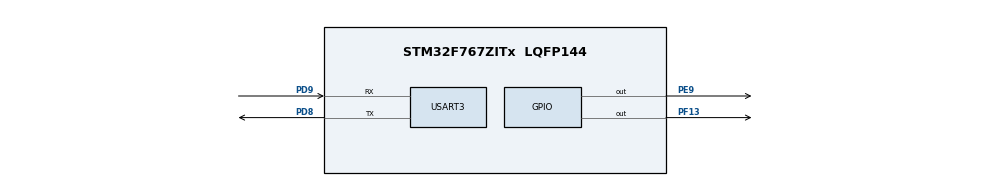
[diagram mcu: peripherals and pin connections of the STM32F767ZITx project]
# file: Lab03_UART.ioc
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Mcu.Family=STM32F7
Mcu.Name=STM32F767ZITx
Mcu.Package=LQFP144
NVIC.PriorityGroup=NVIC_PRIORITYGROUP_4
PD8.Mode=Asynchronous
PD8.Signal=USART3_TX
PD9.Mode=Asynchronous
PD9.Signal=USART3_RX
PE9.Signal=GPIO_Output
PF13.Signal=GPIO_Output
ProjectManager.HeapSize=0x200
ProjectManager.StackSize=0x400
ProjectManager.TargetToolchain=STM32CubeIDE
RCC.HSE_VALUE=25000000
RCC.HSI_VALUE=16000000
RCC.LSE_VALUE=32768
RCC.USBFreq_Value=96000000
RCC.VCOOutputFreq_Value=192000000
USART3.VirtualMode-Asynchronous=VM_ASYNC
board=custom

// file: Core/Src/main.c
/* USER CODE BEGIN Header */
/**
  ******************************************************************************
  * @file           : main.c
  * @brief          : Main program body
  ******************************************************************************
  * @attention
  *
  * Copyright (c) 2023 STMicroelectronics.
  * All rights reserved.
  *
  * This software is licensed under terms that can be found in the LICENSE file
  * in the root directory of this software component.
  * If no LICENSE file comes with this software, it is provided AS-IS.
  *
  ******************************************************************************
  */
/* USER CODE END Header */
#include "main.h"
#include "usart.h"
#include "gpio.h"

/* USER CODE BEGIN Includes */
#include "string.h"
/* USER CODE END Includes */

void SystemClock_Config(void);

int main(void)
{

  /* MCU Configuration--------------------------------------------------------*/

  /* Reset of all peripherals, Initializes the Flash interface and the Systick. */
  HAL_Init();

  /* Configure the system clock */
  SystemClock_Config();

  /* Initialize all configured peripherals */
  MX_GPIO_Init();
  MX_USART3_UART_Init();
  /* USER CODE BEGIN 2 */

  	 /*============ FOR FOUR ============*/

	 char str[] = "Display Blinking LED PRESS (1, 2)\nDisplay Group Members PRESS m\nQuit PRESS q\n";
	 char inp[] = "        Input => ";

   	 while(__HAL_UART_GET_FLAG(&huart3,UART_FLAG_TC)==RESET){}
   	 HAL_UART_Transmit(&huart3, (uint8_t*)str,strlen(str),1000);

  /* USER CODE END 2 */

  /* Infinite loop */
  while (1)
  {

    /* USER CODE BEGIN 3 */

	 /*=========== THREE ===========*/

	 char str[] = "Input => ";
	 char ch1;

	 while(__HAL_UART_GET_FLAG(&huart3,UART_FLAG_TC)==RESET){}
	 HAL_UART_Transmit(&huart3, (uint8_t*)str,strlen(str),1000);

	 while(__HAL_UART_GET_FLAG(&huart3,UART_FLAG_RXNE)==RESET){}
	 HAL_UART_Receive(&huart3, (uint8_t*)&ch1,1,1000);
	 HAL_UART_Transmit(&huart3, (uint8_t*)&ch1,1,1000);
	 HAL_UART_Transmit(&huart3, (uint8_t*)"\n",1,1000);

	 if(ch1=='q')
	 {
		 HAL_UART_Transmit(&huart3, (uint8_t*)"QUIT",4,1000);
		 break;
	 }

	 /*============ FOUR ============*/

	 char command;
	 char memberInfo[] = "           64010154\n           CHANIDAPA WONGTEP\n           64010965\n           ANAWIN THAMJAROENTIP\n           64011041\n           KITTAPORN BURIYAMEATHAKUL\n";

	 while(__HAL_UART_GET_FLAG(&huart3,UART_FLAG_TC)==RESET){}
	 HAL_UART_Transmit(&huart3, (uint8_t*)inp,strlen(inp),1000);

	 while(__HAL_UART_GET_FLAG(&huart3,UART_FLAG_RXNE)==RESET){}
	 HAL_UART_Receive(&huart3, (uint8_t*)&command,1,1000);
	 HAL_UART_Transmit(&huart3, (uint8_t*)&command,1,1000);
	 HAL_UART_Transmit(&huart3, (uint8_t*)"\n",1,1000);

	 if(command=='1')
	 {
		 for(int i=0;i<3;i++)
		 {
			 HAL_GPIO_WritePin(GPIOF, GPIO_PIN_13, GPIO_PIN_SET);
			 HAL_Delay(300);
			 HAL_GPIO_WritePin(GPIOF, GPIO_PIN_13, GPIO_PIN_RESET);
			 HAL_Delay(300);
		 }
	 }
	 else if(command=='2')
	 	 {
	 		 for(int i=0;i<3;i++)
	 		 {
	 			 HAL_GPIO_WritePin(GPIOE, GPIO_PIN_9, GPIO_PIN_SET);
	 			 HAL_Delay(300);
	 			 HAL_GPIO_WritePin(GPIOE, GPIO_PIN_9, GPIO_PIN_RESET);
	 			 HAL_Delay(300);
	 		 }
	 	 }
	 else if(command=='m')
	 {
		 HAL_UART_Transmit(&huart3, (uint8_t*)memberInfo,strlen(memberInfo),1000);
	 }
	 else if(command=='q')
	 {
		 HAL_UART_Transmit(&huart3, (uint8_t*)"Quit",4,1000);
		 break;
	 }
	 else
	 {
		 HAL_UART_Transmit(&huart3, (uint8_t*)"           Unknown Command\n",27,1000);
	 }
  }
  /* USER CODE END 3 */
}

void SystemClock_Config(void)
{
  RCC_OscInitTypeDef RCC_OscInitStruct = {0};
  RCC_ClkInitTypeDef RCC_ClkInitStruct = {0};

  /** Configure the main internal regulator output voltage
  */
  __HAL_RCC_PWR_CLK_ENABLE();
  __HAL_PWR_VOLTAGESCALING_CONFIG(PWR_REGULATOR_VOLTAGE_SCALE3);

  /** Initializes the RCC Oscillators according to the specified parameters
  * in the RCC_OscInitTypeDef structure.
  */
  RCC_OscInitStruct.OscillatorType = RCC_OSCILLATORTYPE_HSI;
  RCC_OscInitStruct.HSIState = RCC_HSI_ON;
  RCC_OscInitStruct.HSICalibrationValue = RCC_HSICALIBRATION_DEFAULT;
  RCC_OscInitStruct.PLL.PLLState = RCC_PLL_NONE;
  if (HAL_RCC_OscConfig(&RCC_OscInitStruct) != HAL_OK)
  {
    Error_Handler();
  }

  /** Initializes the CPU, AHB and APB buses clocks
  */
  RCC_ClkInitStruct.ClockType = RCC_CLOCKTYPE_HCLK|RCC_CLOCKTYPE_SYSCLK
                              |RCC_CLOCKTYPE_PCLK1|RCC_CLOCKTYPE_PCLK2;
  RCC_ClkInitStruct.SYSCLKSource = RCC_SYSCLKSOURCE_HSI;
  RCC_ClkInitStruct.AHBCLKDivider = RCC_SYSCLK_DIV1;
  RCC_ClkInitStruct.APB1CLKDivider = RCC_HCLK_DIV1;
  RCC_ClkInitStruct.APB2CLKDivider = RCC_HCLK_DIV1;

  if (HAL_RCC_ClockConfig(&RCC_ClkInitStruct, FLASH_LATENCY_0) != HAL_OK)
  {
    Error_Handler();
  }
}

void Error_Handler(void)
{
  __disable_irq();
  while (1)
  {
  }
}
